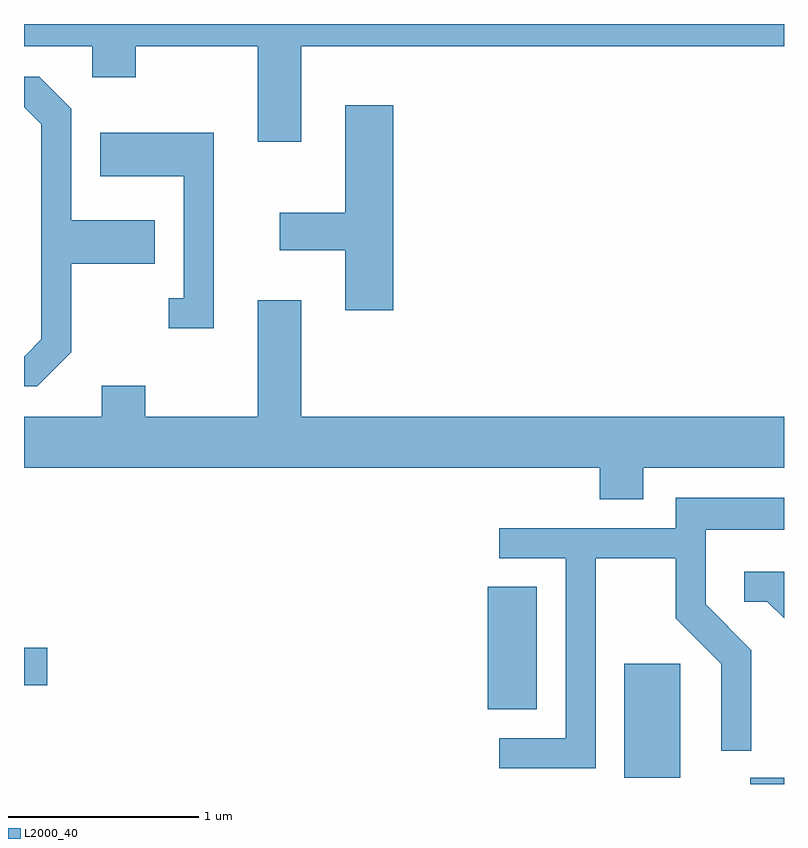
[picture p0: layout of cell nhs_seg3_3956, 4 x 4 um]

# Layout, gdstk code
import gdstk
lib = gdstk.Library(unit=1e-6, precision=1e-09)
def R(c, l, rs):  # rectangles x0, y0, x1, y1
    for r in rs: c.add(gdstk.rectangle(r[:2], r[2:], *l))
def P(c, l, *ps):  # polygons
    for p in ps: c.add(gdstk.Polygon(p, *l))
L2000_40 = (2000, 40)

nhs_seg3_3956 = lib.new_cell('nhs_seg3_3956')
R(nhs_seg3_3956, L2000_40, [(305.433,1139.892,305.611,1139.924), (304.771,1139.926,305.064,1140.524), (304.051,1140.286,304.309,1140.929), (301.611,1140.411,301.734,1140.609)])
P(nhs_seg3_3956, L2000_40, [(303.069,1143.776),(305.611,1143.776),(305.611,1143.892),(301.611,1143.892),(301.611,1143.776),(301.971,1143.776),(301.971,1143.611),(302.199,1143.611),(302.199,1143.776),(302.841,1143.776),(302.841,1143.271),(303.069,1143.271)],
  [(301.859,1142.164),(301.859,1142.631),(302.299,1142.631),(302.299,1142.859),(301.859,1142.859),(301.859,1143.447),(301.692,1143.614),(301.611,1143.614),(301.611,1143.454),(301.701,1143.364),(301.701,1142.232),(301.614,1142.144),(301.611,1142.144),(301.611,1141.986),(301.682,1141.986)],
  [(303.554,1143.464),(303.301,1143.464),(303.301,1142.899),(302.956,1142.899),(302.956,1142.701),(303.301,1142.701),(303.301,1142.386),(303.554,1142.386)],
  [(302.609,1143.319),(302.011,1143.319),(302.011,1143.091),(302.451,1143.091),(302.451,1142.449),(302.373,1142.449),(302.373,1142.291),(302.609,1142.291)],
  [(304.869,1141.556),(305.611,1141.556),(305.611,1141.824),(303.069,1141.824),(303.069,1142.439),(302.841,1142.439),(302.841,1141.824),(302.249,1141.824),(302.249,1141.989),(302.021,1141.989),(302.021,1141.824),(301.611,1141.824),(301.611,1141.556),(304.641,1141.556),(304.641,1141.391),(304.869,1141.391)],
  [(304.619,1141.081),(305.041,1141.081),(305.041,1140.764),(305.281,1140.524),(305.281,1140.068),(305.439,1140.068),(305.439,1140.597),(305.199,1140.837),(305.199,1141.231),(305.611,1141.231),(305.611,1141.399),(305.041,1141.399),(305.041,1141.239),(304.113,1141.239),(304.113,1141.081),(304.461,1141.081),(304.461,1140.134),(304.113,1140.134),(304.113,1139.976),(304.619,1139.976)],
  [(305.611,1141.009),(305.403,1141.009),(305.403,1140.851),(305.524,1140.851),(305.611,1140.764)])

lib.write_gds('nhs_seg3_3956.gds')
